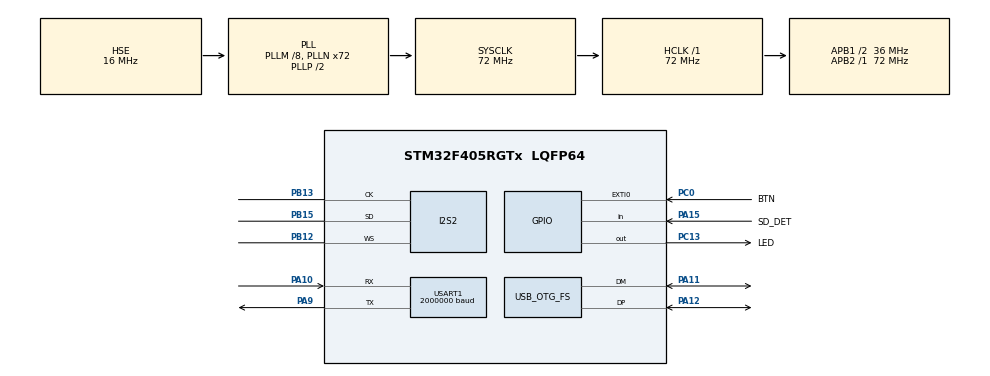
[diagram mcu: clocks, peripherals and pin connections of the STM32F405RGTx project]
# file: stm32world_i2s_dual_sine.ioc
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ARM.CMSIS.5.6.0.CMSISJjDSP=Library
Dma.Request0=SPI2_TX
Dma.SPI2_TX.0.Direction=DMA_MEMORY_TO_PERIPH
Dma.SPI2_TX.0.FIFOMode=DMA_FIFOMODE_DISABLE
Dma.SPI2_TX.0.Instance=DMA1_Stream4
Dma.SPI2_TX.0.MemDataAlignment=DMA_MDATAALIGN_HALFWORD
Dma.SPI2_TX.0.MemInc=DMA_MINC_ENABLE
Dma.SPI2_TX.0.Mode=DMA_CIRCULAR
Dma.SPI2_TX.0.PeriphDataAlignment=DMA_PDATAALIGN_HALFWORD
Dma.SPI2_TX.0.PeriphInc=DMA_PINC_DISABLE
Dma.SPI2_TX.0.Priority=DMA_PRIORITY_MEDIUM
I2S2.AudioFreq=I2S_AUDIOFREQ_96K
I2S2.DataFormat=I2S_DATAFORMAT_16B
I2S2.ErrorAudioFreq=0.15 %
I2S2.FullDuplexMode=I2S_FULLDUPLEXMODE_DISABLE
I2S2.Instance=SPI$Index
I2S2.RealAudioFreq=96.153 KHz
I2S2.Standard=I2S_STANDARD_PHILIPS
I2S2.VirtualMode=I2S_MODE_MASTER
Mcu.Family=STM32F4
Mcu.Name=STM32F405RGTx
Mcu.Package=LQFP64
NVIC.DMA1_Stream4_IRQn=true\:0\:0\:false\:false\:true\:false\:true\:true
NVIC.OTG_FS_IRQn=true\:0\:0\:false\:false\:true\:false\:true\:true
NVIC.PriorityGroup=NVIC_PRIORITYGROUP_4
PA10.Mode=Asynchronous
PA10.Signal=USART1_RX
PA11.Mode=Device_Only
PA11.Signal=USB_OTG_FS_DM
PA12.Mode=Device_Only
PA12.Signal=USB_OTG_FS_DP
PA13.Mode=Trace_Asynchronous_SW
PA13.Signal=SYS_JTMS-SWDIO
PA14.Mode=Trace_Asynchronous_SW
PA14.Signal=SYS_JTCK-SWCLK
PA15.GPIO_Label=SD_DET
PA15.Signal=GPIO_Input
PA9.Mode=Asynchronous
PA9.Signal=USART1_TX
PB12.Mode=Half_Duplex_Master
PB12.Signal=I2S2_WS
PB13.Mode=Half_Duplex_Master
PB13.Signal=I2S2_CK
PB15.Mode=Half_Duplex_Master
PB15.Signal=I2S2_SD
PB3.Mode=Trace_Asynchronous_SW
PB3.Signal=SYS_JTDO-SWO
PC0.GPIO_Label=BTN
PC0.Signal=GPXTI0
PC13-ANTI_TAMP.GPIO_Label=LED
PC13-ANTI_TAMP.GPIO_ModeDefaultOutputPP=GPIO_MODE_OUTPUT_OD
PC13-ANTI_TAMP.GPIO_PuPd=GPIO_NOPULL
PC13-ANTI_TAMP.PinState=GPIO_PIN_SET
PC13-ANTI_TAMP.Signal=GPIO_Output
PH0-OSC_IN.Mode=HSE-External-Oscillator
PH0-OSC_IN.Signal=RCC_OSC_IN
PH1-OSC_OUT.Mode=HSE-External-Oscillator
PH1-OSC_OUT.Signal=RCC_OSC_OUT
ProjectManager.HeapSize=0x200
ProjectManager.StackSize=0x400
ProjectManager.TargetToolchain=STM32CubeIDE
RCC.48MHZClocksFreq_Value=48000000
RCC.AHBFreq_Value=72000000
RCC.APB1CLKDivider=RCC_HCLK_DIV2
RCC.APB1Freq_Value=36000000
RCC.APB1TimFreq_Value=72000000
RCC.APB2Freq_Value=72000000
RCC.APB2TimFreq_Value=72000000
RCC.CortexFreq_Value=72000000
RCC.HCLKFreq_Value=72000000
RCC.HSE_VALUE=16000000
RCC.HSI_VALUE=16000000
RCC.LSE_VALUE=32768
RCC.PLLI2SN=120
RCC.PLLM=8
RCC.PLLN=72
RCC.PLLQ=3
RCC.SYSCLKFreq_VALUE=72000000
RCC.SYSCLKSource=RCC_SYSCLKSOURCE_PLLCLK
RCC.VCOOutputFreq_Value=144000000
USART1.BaudRate=2000000
USART1.VirtualMode=VM_ASYNC
USB_DEVICE.CLASS_NAME_FS=AUDIO
USB_DEVICE.MANUFACTURER_STRING-AUDIO_FS=STM32World
USB_DEVICE.PRODUCT_STRING_AUDIO_FS=STM32 Audio
USB_DEVICE.USBD_AUDIO_FREQ-AUDIO_FS=48000
USB_DEVICE.USBD_SELF_POWERED-AUDIO_FS=0
USB_DEVICE.VirtualMode-AUDIO_FS=Audio
USB_DEVICE.VirtualModeFS=Audio_FS
USB_OTG_FS.VirtualMode=Device_Only
VP_ARM.CMSIS_VS_CMSISJjDSP_1.7.0_5.6.0.Mode=CMSISJjDSP
VP_USB_DEVICE_VS_USB_DEVICE_AUDIO_FS.Mode=AUDIO_FS
board=custom

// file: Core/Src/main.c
/* USER CODE BEGIN Header */
/**
 ******************************************************************************
 * @file           : main.c
 * @brief          : Main program body
 ******************************************************************************
 * @attention
 *
 * Copyright (c) 2025 Lars Boegild Thomsen <lth@stm32world.com>
 * All rights reserved.
 *
 * This software is licensed under terms that can be found in the LICENSE file
 * in the root directory of this software component.
 * If no LICENSE file comes with this software, it is provided AS-IS.
 *
 ******************************************************************************
 */
/* USER CODE END Header */
#include "main.h"

/* USER CODE BEGIN Includes */
#include <stdio.h>
#include <math.h>
#include "arm_math.h"
/* USER CODE END Includes */

/* USER CODE BEGIN PD */

#define TAU 6.28318530717958647692
#define I2S_DMA_BUFFER_SAMPLES 256
#define I2S_DMA_BUFFER_SIZE 2 * 2 * I2S_DMA_BUFFER_SAMPLES // 2 full buffers L+R samples
#define SAMPLE_FREQ 96000
#define OUTPUT_MAX 32767

/* USER CODE END PD */

I2S_HandleTypeDef hi2s2;
DMA_HandleTypeDef hdma_spi2_tx;

UART_HandleTypeDef huart1;

/* USER CODE BEGIN PV */

// Notice, 22k will not work on the PCM5102A
const uint32_t sample_frequencies[] = {
I2S_AUDIOFREQ_96K,
I2S_AUDIOFREQ_48K,
I2S_AUDIOFREQ_44K,
I2S_AUDIOFREQ_32K,
//I2S_AUDIOFREQ_22K,
I2S_AUDIOFREQ_16K,
I2S_AUDIOFREQ_8K
};

uint8_t current_freq = 0;

float freq[2] = {
        220,
        440
};

float angle[2] = {
        0,
        0
};

// Will be calculated from freq
float angle_change[2] = {
        0,
        0
};

float amplification[2] = {
        1,
        0.1
};

int16_t i2s_dma_buffer[I2S_DMA_BUFFER_SIZE];

int16_t *dma_buffer_to_fill;

float amplification_change = -0.01;

//uint8_t dma_buffer_processing = 0;
//uint32_t dma_overflow = 0;

uint32_t i2c_cb, i2c_hcb;

/* USER CODE END PV */

void SystemClock_Config(void);
static void MX_GPIO_Init(void);
static void MX_DMA_Init(void);
static void MX_USART1_UART_Init(void);
static void MX_I2S2_Init(void);

/* USER CODE BEGIN 0 */

// Send printf to uart1
int _write(int fd, char *ptr, int len) {
    HAL_StatusTypeDef hstatus;

    if (fd == 1 || fd == 2) {
        hstatus = HAL_UART_Transmit(&huart1, (uint8_t*) ptr, len, HAL_MAX_DELAY);
        if (hstatus == HAL_OK)
            return len;
        else
            return -1;
    }
    return -1;
}

void process_buffer(int16_t *buffer) {

    //dma_buffer_processing = 1;

    for (int i = 0; i < 2 * I2S_DMA_BUFFER_SAMPLES; i += 2) { // Two samples left/right per step

        buffer[i] = OUTPUT_MAX * amplification[0] * arm_cos_f32(angle[0]);      // Left
        buffer[i + 1] = OUTPUT_MAX * amplification[1] * arm_cos_f32(angle[1]);  // Right
        //buffer[i + 1] = 0;  // Right

        angle[0] += angle_change[0];
        angle[1] += angle_change[1];

        if (angle[0] > TAU)
            angle[0] -= TAU;
        if (angle[1] > TAU)
            angle[1] -= TAU;

    }

    //dma_buffer_processing = 0;

}

void HAL_I2S_TxCpltCallback(I2S_HandleTypeDef *hi2s) {
    dma_buffer_to_fill = &i2s_dma_buffer[2 * I2S_DMA_BUFFER_SAMPLES];
//    if (dma_buffer_processing) {
//        ++dma_overflow; // Still processing previous buffer
//    } else {
//        process_buffer(&i2s_dma_buffer[2 * I2S_DMA_BUFFER_SAMPLES]); // Second half
//        ++i2c_cb;
//    }
}

void HAL_I2S_TxHalfCpltCallback(I2S_HandleTypeDef *hi2s) {
    dma_buffer_to_fill = &i2s_dma_buffer[0];
//    if (dma_buffer_processing) {
//        ++dma_overflow; // Still processing previous buffer
//    } else {
//        process_buffer(&i2s_dma_buffer[0]);
//        ++i2c_hcb;
//    }
}

void set_angle_changes() {
    angle_change[0] = freq[0] * (TAU / sample_frequencies[current_freq]); // left
    angle_change[1] = freq[1] * (TAU / sample_frequencies[current_freq]);  // right
//    angle[0] = 0;
//    angle[1] = 1;
}

void set_i2s_freq(uint32_t freq) {

    // Pause the DMA transfers
    HAL_I2S_DMAStop(&hi2s2);

    // Deinit
    HAL_I2S_DeInit(&hi2s2);

    hi2s2.Init.AudioFreq = freq;

    HAL_I2S_Init(&hi2s2);

    set_angle_changes();

    // Restart DMA
    //HAL_I2S_DMAResume(&hi2s2);
    HAL_I2S_Transmit_DMA(&hi2s2, (uint16_t*) &i2s_dma_buffer, I2S_DMA_BUFFER_SIZE);

}

/* USER CODE END 0 */

int main(void)
{

    /* MCU Configuration--------------------------------------------------------*/

    /* Reset of all peripherals, Initializes the Flash interface and the Systick. */
    HAL_Init();

    /* Configure the system clock */
    SystemClock_Config();

    /* Initialize all configured peripherals */
    MX_GPIO_Init();
    MX_DMA_Init();
    MX_USART1_UART_Init();
    MX_I2S2_Init();
    /* USER CODE BEGIN 2 */

    printf("\n\n\n---------------------\nStarting music player\n");

    set_angle_changes();

    HAL_I2S_Transmit_DMA(&hi2s2, (uint16_t*) &i2s_dma_buffer, I2S_DMA_BUFFER_SIZE);

    /* USER CODE END 2 */

    /* Infinite loop */
    /* USER CODE BEGIN WHILE */

    uint32_t now = 0, next_blink = 500, next_tick = 1000, next_freq = 10000, loop_cnt = 0;

    while (1) {

        now = uwTick;

        if (now >= next_blink) {

            HAL_GPIO_TogglePin(LED_GPIO_Port, LED_Pin);

            next_blink = now + 500;
        }

        if (now >= next_tick) {

            printf("Tick %lu (loop=%lu)\n", now / 1000, loop_cnt);

            loop_cnt = 0;
            next_tick = now + 1000;

        }

        if (now >= next_freq) {

            // Increase index
            ++current_freq;

            // Loop around if too big
            if (current_freq >= sizeof(sample_frequencies) / sizeof(sample_frequencies[0])) {
                current_freq = 0;
            }

            printf("Setting sample freq to: %lu\n", sample_frequencies[current_freq]);

            // Set the freq
            set_i2s_freq(sample_frequencies[current_freq]);

            next_freq = now + 10000;
        }

        if (dma_buffer_to_fill) {

            process_buffer(dma_buffer_to_fill);

            dma_buffer_to_fill = 0;

        }

        if (loop_cnt % 1000 == 0) {

//            amplification[1] += amplification_change;
//
//            if (amplification[1] <= 0)
//                amplification_change = 0.001;
//            if (amplification[1] >= 1)
//                amplification_change = -0.001;

        }

        ++loop_cnt;

        /* USER CODE END WHILE */

    }
}

void SystemClock_Config(void)
{
    RCC_OscInitTypeDef RCC_OscInitStruct = { 0 };
    RCC_ClkInitTypeDef RCC_ClkInitStruct = { 0 };

    /** Configure the main internal regulator output voltage
     */
    __HAL_RCC_PWR_CLK_ENABLE();
    __HAL_PWR_VOLTAGESCALING_CONFIG(PWR_REGULATOR_VOLTAGE_SCALE1);

    /** Initializes the RCC Oscillators according to the specified parameters
     * in the RCC_OscInitTypeDef structure.
     */
    RCC_OscInitStruct.OscillatorType = RCC_OSCILLATORTYPE_HSE;
    RCC_OscInitStruct.HSEState = RCC_HSE_ON;
    RCC_OscInitStruct.PLL.PLLState = RCC_PLL_ON;
    RCC_OscInitStruct.PLL.PLLSource = RCC_PLLSOURCE_HSE;
    RCC_OscInitStruct.PLL.PLLM = 8;
    RCC_OscInitStruct.PLL.PLLN = 72;
    RCC_OscInitStruct.PLL.PLLP = RCC_PLLP_DIV2;
    RCC_OscInitStruct.PLL.PLLQ = 3;
    if (HAL_RCC_OscConfig(&RCC_OscInitStruct) != HAL_OK)
            {
        Error_Handler();
    }

    /** Initializes the CPU, AHB and APB buses clocks
     */
    RCC_ClkInitStruct.ClockType = RCC_CLOCKTYPE_HCLK | RCC_CLOCKTYPE_SYSCLK
            | RCC_CLOCKTYPE_PCLK1 | RCC_CLOCKTYPE_PCLK2;
    RCC_ClkInitStruct.SYSCLKSource = RCC_SYSCLKSOURCE_PLLCLK;
    RCC_ClkInitStruct.AHBCLKDivider = RCC_SYSCLK_DIV1;
    RCC_ClkInitStruct.APB1CLKDivider = RCC_HCLK_DIV2;
    RCC_ClkInitStruct.APB2CLKDivider = RCC_HCLK_DIV1;

    if (HAL_RCC_ClockConfig(&RCC_ClkInitStruct, FLASH_LATENCY_2) != HAL_OK)
            {
        Error_Handler();
    }
}

static void MX_I2S2_Init(void)
{

    hi2s2.Instance = SPI2;
    hi2s2.Init.Mode = I2S_MODE_MASTER_TX;
    hi2s2.Init.Standard = I2S_STANDARD_PHILIPS;
    hi2s2.Init.DataFormat = I2S_DATAFORMAT_16B;
    hi2s2.Init.MCLKOutput = I2S_MCLKOUTPUT_DISABLE;
    hi2s2.Init.AudioFreq = I2S_AUDIOFREQ_96K;
    hi2s2.Init.CPOL = I2S_CPOL_LOW;
    hi2s2.Init.ClockSource = I2S_CLOCK_PLL;
    hi2s2.Init.FullDuplexMode = I2S_FULLDUPLEXMODE_DISABLE;
    if (HAL_I2S_Init(&hi2s2) != HAL_OK)
            {
        Error_Handler();
    }

}

static void MX_USART1_UART_Init(void)
{

    huart1.Instance = USART1;
    huart1.Init.BaudRate = 2000000;
    huart1.Init.WordLength = UART_WORDLENGTH_8B;
    huart1.Init.StopBits = UART_STOPBITS_1;
    huart1.Init.Parity = UART_PARITY_NONE;
    huart1.Init.Mode = UART_MODE_TX_RX;
    huart1.Init.HwFlowCtl = UART_HWCONTROL_NONE;
    huart1.Init.OverSampling = UART_OVERSAMPLING_16;
    if (HAL_UART_Init(&huart1) != HAL_OK)
            {
        Error_Handler();
    }

}

static void MX_DMA_Init(void)
{

    /* DMA controller clock enable */
    __HAL_RCC_DMA1_CLK_ENABLE();

    /* DMA interrupt init */
    /* DMA1_Stream4_IRQn interrupt configuration */
    HAL_NVIC_SetPriority(DMA1_Stream4_IRQn, 0, 0);
    HAL_NVIC_EnableIRQ(DMA1_Stream4_IRQn);

}

static void MX_GPIO_Init(void)
{
    GPIO_InitTypeDef GPIO_InitStruct = { 0 };

    /* GPIO Ports Clock Enable */
    __HAL_RCC_GPIOC_CLK_ENABLE();
    __HAL_RCC_GPIOH_CLK_ENABLE();
    __HAL_RCC_GPIOB_CLK_ENABLE();
    __HAL_RCC_GPIOA_CLK_ENABLE();

    /*Configure GPIO pin Output Level */
    HAL_GPIO_WritePin(LED_GPIO_Port, LED_Pin, GPIO_PIN_SET);

    /*Configure GPIO pin : LED_Pin */
    GPIO_InitStruct.Pin = LED_Pin;
    GPIO_InitStruct.Mode = GPIO_MODE_OUTPUT_OD;
    GPIO_InitStruct.Pull = GPIO_NOPULL;
    GPIO_InitStruct.Speed = GPIO_SPEED_FREQ_LOW;
    HAL_GPIO_Init(LED_GPIO_Port, &GPIO_InitStruct);

    /*Configure GPIO pin : BTN_Pin */
    GPIO_InitStruct.Pin = BTN_Pin;
    GPIO_InitStruct.Mode = GPIO_MODE_IT_RISING;
    GPIO_InitStruct.Pull = GPIO_NOPULL;
    HAL_GPIO_Init(BTN_GPIO_Port, &GPIO_InitStruct);

}

void Error_Handler(void)
{
    __disable_irq();
    while (1)
    {
    }
}
